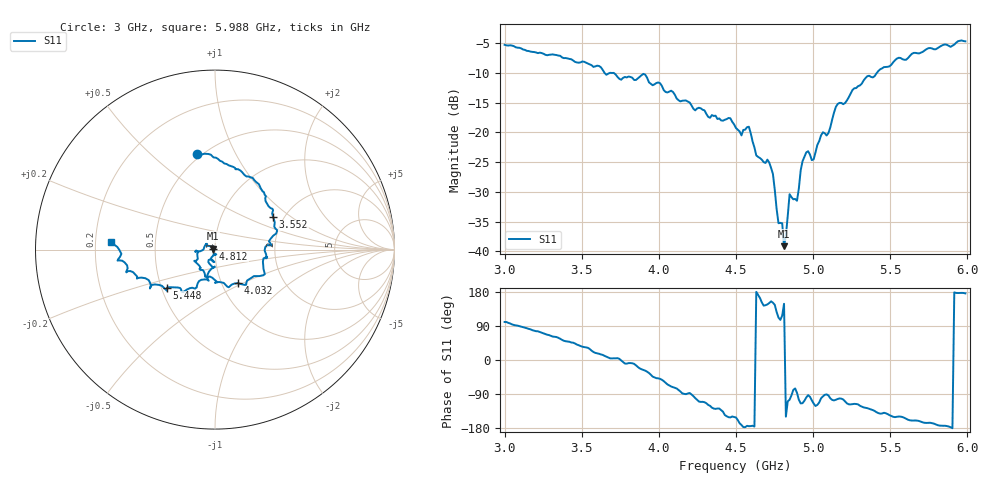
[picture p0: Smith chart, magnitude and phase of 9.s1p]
! Saved from nanovna library
# Hz S RI R 50
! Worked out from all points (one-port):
!   250 points, 3 GHz to 5.988 GHz, reference 50 ohm
!   lowest |S11| = -39.1 dB at 4.812 GHz (marker M1), VSWR 1.02, Z = 49.1 + j0.571 ohm
!   |S11| at or under -10 dB: 3.647 GHz to 5.415 GHz (1.767 GHz wide, 39 % of centre)
!   S11 on the Smith chart (normalised r, x): 3 GHz: 0.47, +0.72; 3.552 GHz: 1.76, +0.74; 4.032 GHz: 1.19, -0.47; 4.812 GHz: 0.98, +0.01; 5.448 GHz: 0.53, -0.26; 5.988 GHz: 0.27, +0.03
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3e9  -0.0978 0.5336
3.384e9  0.2652 0.3249
3.552e9  0.3247 0.1804
3.756e9  0.2763 -0.00498
3.9e9  0.2772 -0.1371
4.032e9  0.1269 -0.1868
4.128e9  0.035 -0.1824
4.5e9  -0.0957 -0.0516
4.584e9  -0.1109 -0.0104
4.632e9  -0.064 0.000213
4.716e9  -0.0484 0.0276
4.74e9  -0.0391 0.0215
4.776e9  -0.00646 0.016
4.8e9  -0.00785 0.0153
4.812e9  -0.00942 0.00582
4.848e9  -0.00764 -0.0292
4.872e9  0.00526 -0.0269
4.896e9  0.00153 -0.0266
4.92e9  -0.0199 -0.0436
4.956e9  -0.0106 -0.0669
5.004e9  -0.0249 -0.0538
5.052e9  -0.0181 -0.0926
5.1e9  -0.00635 -0.0984
5.148e9  -0.0422 -0.158
5.244e9  -0.0966 -0.1885
5.448e9  -0.2679 -0.2161
5.616e9  -0.3885 -0.1595
5.988e9  -0.5784 0.0426
